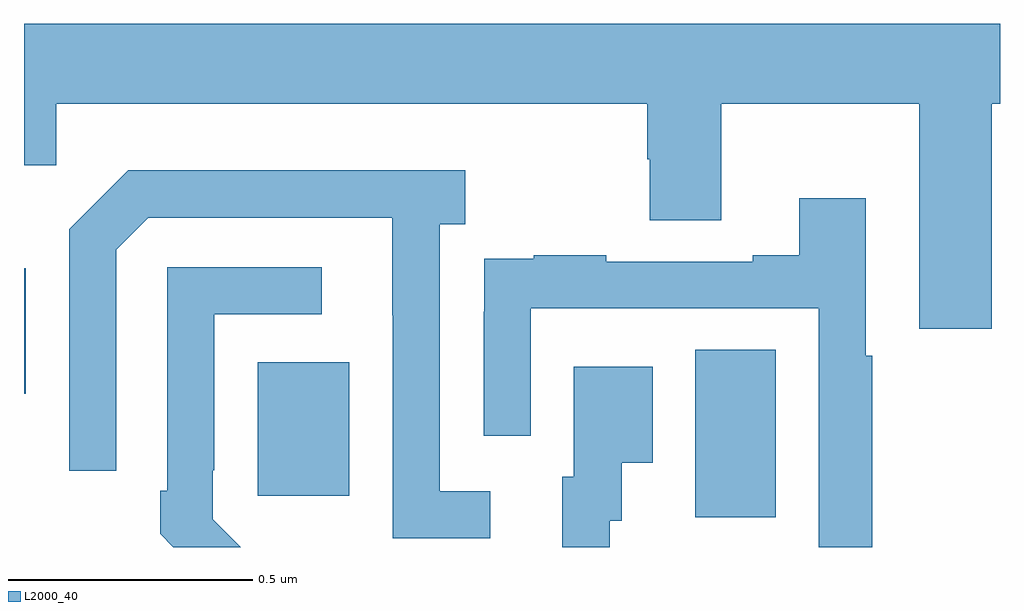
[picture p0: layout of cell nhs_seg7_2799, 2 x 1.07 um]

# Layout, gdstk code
import gdstk
lib = gdstk.Library(unit=1e-6, precision=1e-09)
def R(c, l, rs):  # rectangles x0, y0, x1, y1
    for r in rs: c.add(gdstk.rectangle(r[:2], r[2:], *l))
def P(c, l, *ps):  # polygons
    for p in ps: c.add(gdstk.Polygon(p, *l))
L2000_40 = (2000, 40)

nhs_seg7_2799 = lib.new_cell('nhs_seg7_2799')
R(nhs_seg7_2799, L2000_40, [(151.376,1041.061,151.54,1041.404), (150.479,1041.105,150.667,1041.379), (150,1041.314,150.004,1041.571)])
P(nhs_seg7_2799, L2000_40, [(151.983,1041.908),(152,1041.908),(152,1042.072),(150,1042.072),(150,1041.782),(150.066,1041.782),(150.066,1041.908),(151.277,1041.908),(151.277,1041.795),(151.282,1041.795),(151.282,1041.67),(151.429,1041.67),(151.429,1041.908),(151.835,1041.908),(151.835,1041.447),(151.983,1041.447)],
  [(150.955,1041.114),(150.852,1041.114),(150.852,1041.662),(150.904,1041.662),(150.904,1041.772),(150.214,1041.772),(150.093,1041.651),(150.093,1041.156),(150.189,1041.156),(150.189,1041.609),(150.255,1041.675),(150.755,1041.675),(150.755,1041.475),(150.756,1041.475),(150.756,1041.018),(150.955,1041.018)],
  [(151.738,1041.392),(151.725,1041.392),(151.725,1041.715),(151.589,1041.715),(151.589,1041.598),(151.493,1041.598),(151.493,1041.585),(151.193,1041.585),(151.193,1041.598),(151.045,1041.598),(151.045,1041.591),(150.943,1041.591),(150.943,1041.482),(150.942,1041.482),(150.942,1041.228),(151.038,1041.228),(151.038,1041.489),(151.629,1041.489),(151.629,1041),(151.738,1041)],
  [(150.387,1041.057),(150.387,1041.157),(150.39,1041.157),(150.39,1041.477),(150.61,1041.477),(150.61,1041.573),(150.294,1041.573),(150.294,1041.115),(150.279,1041.115),(150.279,1041.027),(150.306,1041),(150.444,1041)],
  [(151.2,1041.054),(151.225,1041.054),(151.225,1041.173),(151.288,1041.173),(151.288,1041.37),(151.127,1041.37),(151.127,1041.144),(151.103,1041.144),(151.103,1041),(151.2,1041)])

lib.write_gds('nhs_seg7_2799.gds')
